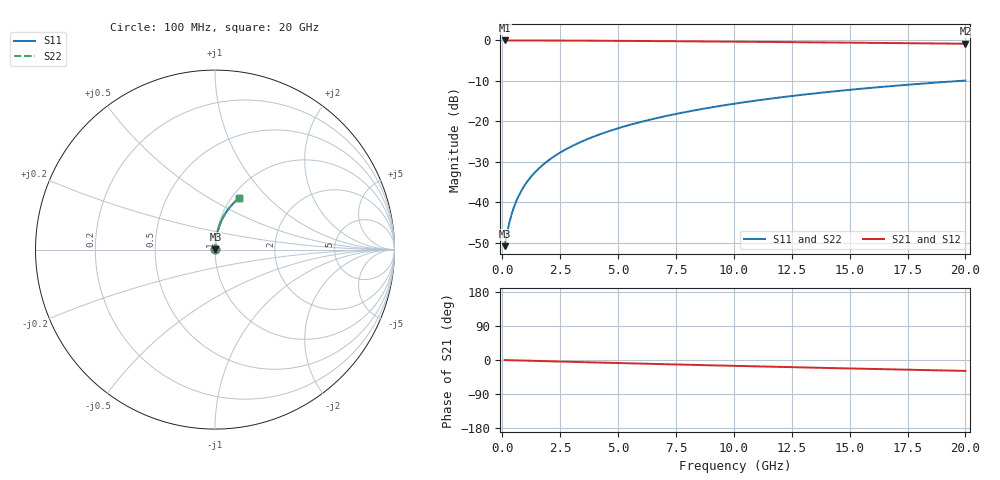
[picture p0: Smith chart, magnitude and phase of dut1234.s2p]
! Touchstone file exported from HFSS 2024.1.0
!  File:  C:/UserFiles/LocalFiles/RDL_TSV_Batchsim/temp_RDL_top_1234_1780240744.aedt
!  Generated:  11:21:09 PM May 31, 2026
!  Design:  RDL_top
!  Project:  temp_RDL_top_1234_1780240744
!  Setup:  Setup1
!  Solution:  Sweep
! Variables:
!  dtsv = 10.80580581um
!  hbump = 3um
!  htsv = 79.43um
!  ldown = 100um
!  lrdl = 376.58um
!  p = 40
!  p1 = 44.69um
!  rhole = 1um
!  t = 450um
!  tdown = 3.915915916um
!  trdl = 4.15um
!  wdown = 15.38538539um
!  wrdl = 14.87um
# GHz S MA R 50.000000
! Terminal data exported
! Port[1] = Box2_T1
! Port[2] = Box2_T2
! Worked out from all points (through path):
!   200 points, 100 MHz to 20 GHz, reference 50 ohm
!   highest |S21| = -0.02 dB at 100 MHz (marker M1); lowest = -0.8 dB at 20 GHz (marker M2)
!   group delay of S21, straight-line fit = 3.98 ps
!   lowest |S11| = -50.9 dB at 100 MHz (marker M3), VSWR 1.01, Z = 50.2 + j0.173 ohm
!   |S11| at or under -10 dB: start of sweep to 19.82 GHz
!   |S22| runs from -50.9 to -9.9 dB; largest |S21 - S12| = 3.5e-15
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0.1  0.002861 37.1  0.9977 -0.2  0.9977 -0.2  0.002861 37.1
! Gamma 0 0 0 0
! Port Impedance 50 0 50 0
0.2  0.004064 55.5  0.9976 -0.3  0.9976 -0.3  0.004062 55.7
0.3  0.005513 65.0  0.9976 -0.5  0.9976 -0.5  0.005513 65.1
0.4  0.007054 70.4  0.9975 -0.7  0.9975 -0.7  0.007057 70.5
0.5  0.008638 73.8  0.9974 -0.8  0.9974 -0.8  0.008642 73.9
0.6  0.01024 76.1  0.9973 -1.0  0.9973 -1.0  0.01025 76.1
0.8  0.01348 78.9  0.9971 -1.3  0.9971 -1.3  0.01348 78.9
1.1  0.01835 81.1  0.9968 -1.8  0.9968 -1.8  0.01835 81.1
1.5  0.02484 82.5  0.9963 -2.5  0.9963 -2.5  0.02484 82.5
1.8  0.0297 83.1  0.9958 -3.0  0.9958 -3.0  0.02971 83.1
2.1  0.03457 83.4  0.9953 -3.4  0.9953 -3.4  0.03457 83.4
2.7  0.04431 83.6  0.994 -4.4  0.994 -4.4  0.04431 83.6
3.5  0.05734 83.5  0.9919 -5.7  0.9919 -5.7  0.05734 83.6
4.2  0.06879 83.2  0.9897 -6.8  0.9897 -6.8  0.0688 83.2
5  0.08194 82.7  0.9869 -8.0  0.9869 -8.0  0.08194 82.7
5.9  0.09678 81.9  0.9834 -9.4  0.9834 -9.4  0.09679 82.0
6.8  0.1117 81.1  0.9796 -10.8  0.9796 -10.8  0.1117 81.1
8.3  0.1365 79.5  0.9728 -13.0  0.9728 -13.0  0.1365 79.5
10.1  0.1662 77.4  0.9639 -15.6  0.9639 -15.6  0.1663 77.4
13.4  0.2197 73.2  0.9465 -20.2  0.9465 -20.2  0.2197 73.2
16.7  0.2708 68.9  0.9278 -24.6  0.9278 -24.6  0.2709 68.9
20  0.3188 64.7  0.9083 -28.8  0.9083 -28.8  0.3188 64.7
